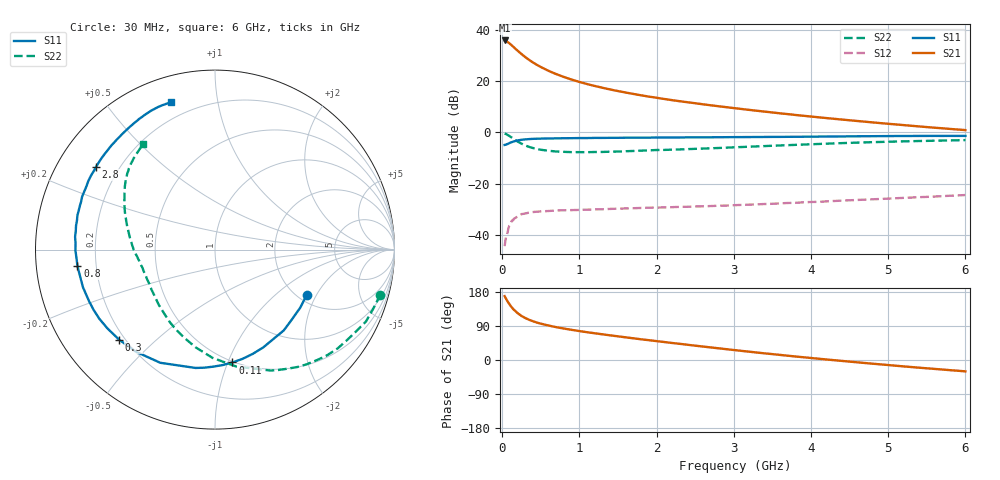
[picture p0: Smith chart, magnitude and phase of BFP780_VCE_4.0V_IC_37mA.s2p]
! Infineon Technologies  Discrete & RF Semiconductors
! BFP780
! VCE =  4.0 V,  IC =  37 mA
! Common Emitter S-Parameters:  Jul 2015
# GHz  S  MA  R  50
!  f  S11  S21  S12  S22
! GHz  MAG  ANG  MAG  ANG  MAG  ANG  MAG  ANG
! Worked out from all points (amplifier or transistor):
!   75 points, 30 MHz to 6 GHz, reference 50 ohm
!   highest |S21| = 36.0 dB at 30 MHz (marker M1)
!   |S21| within 3 dB of that: start of sweep to 162 MHz
!   unconditionally stable (mu >= 1): 2.085 GHz to end of sweep
!   at 150 MHz: K = 0.13, MSG = 33.5 dB, |S12| = -33.8 dB
!   at 2.3 GHz: K = 1.07, MAG = 19.1 dB, |S12| = -29.1 dB
!   at 6 GHz: K = 1.26, MAG = 9.6 dB, |S12| = -24.5 dB
!   S11 on the Smith chart (normalised r, x): 30 MHz: 2.24, -1.67; 110 MHz: 0.49, -1.04; 300 MHz: 0.18, -0.39; 800 MHz: 0.13, -0.06; 2.8 GHz: 0.12, +0.31; 6 GHz: 0.12, +0.74
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0.03  0.5702 -26.1  62.79 168.6  0.006 68.5  0.9549 -15.2
0.05  0.5792 -42.6  60.96 161.0  0.0094 63.9  0.9317 -25.4
0.07  0.595 -57.0  58.42 154.2  0.0114 57.8  0.8916 -34.5
0.09  0.6177 -70.0  55.45 147.9  0.015 62.2  0.8583 -43.3
0.11  0.6364 -81.2  52.29 142.2  0.0169 56.0  0.8175 -51.5
0.15  0.6682 -99.3  46.17 132.7  0.0205 46.6  0.7419 -65.3
0.2  0.7004 -115.8  39.38 123.4  0.0229 39.1  0.6621 -79.7
0.25  0.7195 -127.7  33.95 116.1  0.0254 33.3  0.6034 -91.3
0.3  0.7328 -136.7  29.52 110.5  0.0261 29.1  0.5555 -101.1
0.35  0.743 -143.8  26.02 105.9  0.0273 27.1  0.5205 -109.2
0.4  0.751 -149.2  23.19 102.1  0.0279 24.6  0.4955 -116.1
0.5  0.7582 -157.7  18.98 95.8  0.0287 21.4  0.4593 -127.0
0.6  0.7649 -164.0  15.99 90.9  0.0292 19.9  0.4389 -135.6
0.8  0.7719 -173.1  12.11 82.9  0.0302 17.8  0.4181 -147.9
1.1  0.7777 177.4  8.816 73.3  0.031 16.5  0.4117 -160.2
1.5  0.7858 168.2  6.437 62.4  0.0324 16.8  0.424 -170.5
2.1  0.7969 156.8  4.507 47.4  0.0343 17.4  0.4561 178.9
2.8  0.8071 145.2  3.256 30.9  0.037 18.7  0.4971 167.1
3.1  0.8122 140.5  2.874 24.1  0.0384 19.2  0.5195 162.2
4.1  0.8298 126.2  1.978 3.3  0.0441 19.5  0.5959 147.9
5.1  0.852 114.7  1.435 -15.1  0.0519 17.5  0.6643 135.4
6  0.857 106.5  1.112 -30.0  0.0599 13.5  0.7091 124.3
